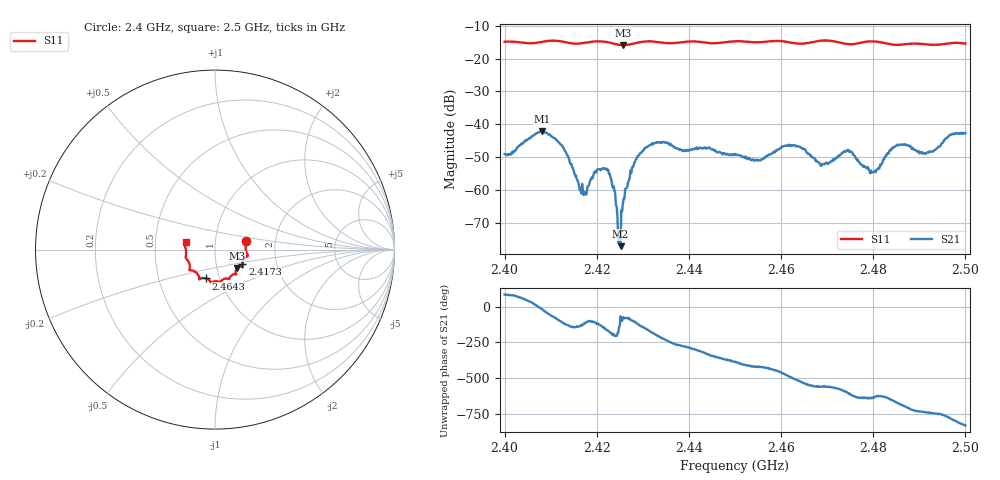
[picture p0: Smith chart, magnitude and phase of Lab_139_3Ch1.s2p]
# Hz S RI R 50
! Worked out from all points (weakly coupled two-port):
!   601 points, 2.4 GHz to 2.5 GHz, reference 50 ohm
!   highest |S21| = -42.12 dB at 2.4082 GHz (marker M1); lowest = -77.0 dB at 2.4252 GHz (marker M2)
!   lowest |S11| = -15.9 dB at 2.4257 GHz (marker M3), VSWR 1.38, Z = 62.5 - j13.1 ohm
!   |S11| at or under -10 dB: start of sweep to end of sweep
!   S12 and S22 are empty: the file has one direction only
!   S11 on the Smith chart (normalised r, x): 2.4 GHz: 1.41, +0.14; 2.4173 GHz: 1.34, -0.23; 2.4643 GHz: 0.86, -0.28; 2.5 GHz: 0.72, +0.06
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2.4e9  0.1733 0.0492  0.000387 0.00352  0 0  0 0
2.408167e9  0.1784 -0.0221  0.00734 -0.00274  0 0  0 0
2.412667e9  0.1759 -0.0391  -0.00195 -0.00406  0 0  0 0
2.416667e9  0.1531 -0.0745  -0.000546 -0.000702  0 0  0 0
2.417333e9  0.1522 -0.082  -0.000396 -0.000845  0 0  0 0
2.419833e9  0.1542 -0.0972  -0.000789 -0.00166  0 0  0 0
2.422333e9  0.1498 -0.0944  -0.00196 -0.000451  0 0  0 0
2.423833e9  0.1382 -0.0944  -0.000905 0.000403  0 0  0 0
2.424667e9  0.1307 -0.0963  -0.00016 6.53e-06  0 0  0 0
2.425167e9  0.1262 -0.0989  5.03e-05 -0.000132  0 0  0 0
2.425667e9  0.1227 -0.1022  0.000137 -0.000613  0 0  0 0
2.4285e9  0.1151 -0.1279  -0.00126 -0.00266  0 0  0 0
2.433333e9  0.1126 -0.1368  -0.00478 0.00248  0 0  0 0
2.45e9  0.0292 -0.1807  0.00317 -0.0016  0 0  0 0
2.464333e9  -0.0498 -0.1606  -0.00432 -0.000918  0 0  0 0
2.466667e9  -0.0758 -0.1595  -0.00311 0.000881  0 0  0 0
2.469e9  -0.0874 -0.1661  -0.00234 0.00091  0 0  0 0
2.474833e9  -0.1046 -0.1279  -0.00137 0.00355  0 0  0 0
2.479833e9  -0.1427 -0.1137  0.000261 0.00187  0 0  0 0
2.483333e9  -0.1404 -0.0899  0.00081 0.00349  0 0  0 0
2.4915e9  -0.1615 -0.0307  0.00339 -0.00138  0 0  0 0
2.5e9  -0.1633 0.042  -0.0029 -0.00678  0 0  0 0
